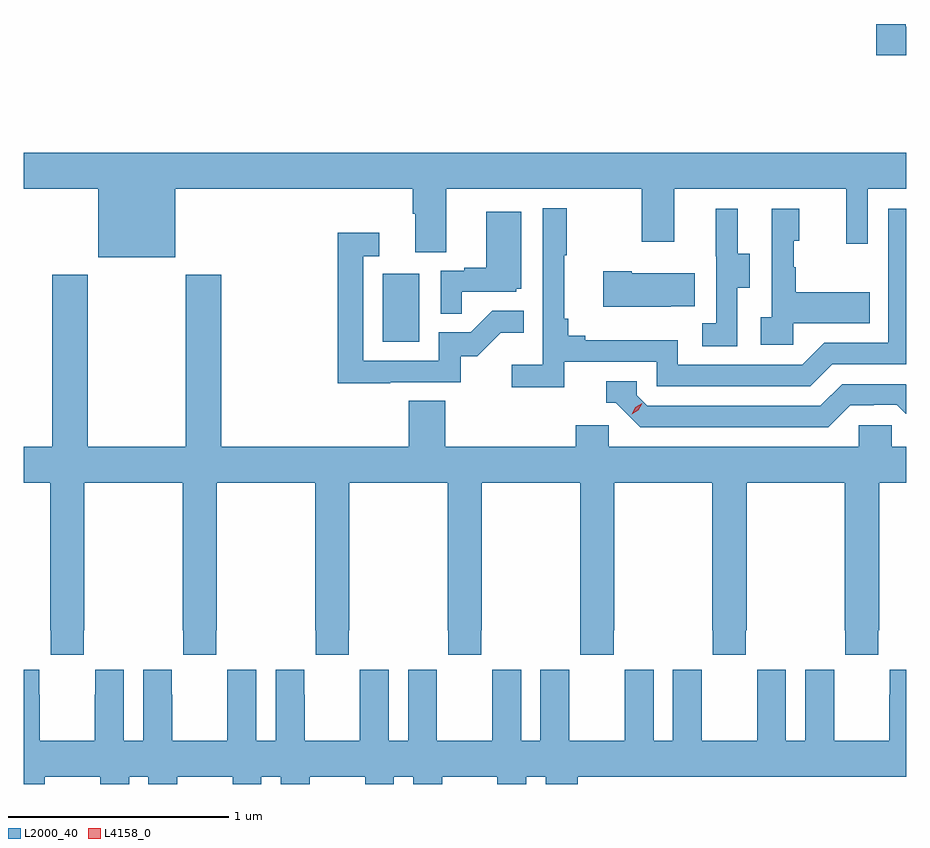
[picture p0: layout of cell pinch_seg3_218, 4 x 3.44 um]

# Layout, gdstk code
import gdstk
lib = gdstk.Library(unit=1e-6, precision=1e-09)
def R(c, l, rs):  # rectangles x0, y0, x1, y1
    for r in rs: c.add(gdstk.rectangle(r[:2], r[2:], *l))
def P(c, l, *ps):  # polygons
    for p in ps: c.add(gdstk.Polygon(p, *l))
L2000_40 = (2000, 40)
L4158_0 = (4158, 0)

pinch_seg3_218 = lib.new_cell('pinch_seg3_218')
R(pinch_seg3_218, L2000_40, [(938.102,744.18,938.266,744.487)])
P(pinch_seg3_218, L2000_40, [(940.474,745.606),(940.47,745.606),(940.47,745.619),(940.338,745.619),(940.338,745.477),(940.474,745.477)],
  [(937.162,744.872),(938.237,744.872),(938.237,744.76),(938.249,744.76),(938.249,744.586),(938.389,744.586),(938.389,744.872),(939.274,744.872),(939.274,744.633),(939.421,744.633),(939.421,744.872),(940.202,744.872),(940.202,744.624),(940.299,744.624),(940.299,744.872),(940.474,744.872),(940.474,745.036),(936.474,745.036),(936.474,744.872),(936.812,744.872),(936.812,744.563),(937.162,744.563)],
  [(938.924,744.09),(939.342,744.09),(939.342,743.979),(940.039,743.979),(940.138,744.078),(940.474,744.078),(940.474,744.783),(940.392,744.783),(940.392,744.174),(940.101,744.174),(940.002,744.075),(939.438,744.075),(939.438,744.187),(939.019,744.187),(939.019,744.206),(938.942,744.206),(938.942,744.283),(938.923,744.283),(938.923,744.571),(938.935,744.571),(938.935,744.784),(938.826,744.784),(938.826,744.076),(938.685,744.076),(938.685,743.974),(938.924,743.974)],
  [(939.708,744.424),(939.763,744.424),(939.763,744.579),(939.709,744.579),(939.709,744.781),(939.611,744.781),(939.611,744.567),(939.612,744.567),(939.612,744.263),(939.549,744.263),(939.549,744.16),(939.708,744.16)],
  [(939.96,744.263),(940.307,744.263),(940.307,744.403),(939.973,744.403),(939.973,744.518),(939.963,744.518),(939.963,744.636),(939.988,744.636),(939.988,744.781),(939.864,744.781),(939.864,744.29),(939.813,744.29),(939.813,744.165),(939.96,744.165)],
  [(938.459,744.405),(938.706,744.405),(938.706,744.42),(938.728,744.42),(938.728,744.769),(938.57,744.769),(938.57,744.514),(938.471,744.514),(938.471,744.501),(938.364,744.501),(938.364,744.307),(938.459,744.307)],
  [(938.135,743.997),(938.454,743.997),(938.454,744.114),(938.53,744.114),(938.637,744.221),(938.741,744.221),(938.741,744.32),(938.597,744.32),(938.499,744.222),(938.355,744.222),(938.355,744.093),(938.013,744.093),(938.013,744.567),(938.086,744.567),(938.086,744.673),(937.897,744.673),(937.897,743.992),(938.135,743.992)],
  [(939.407,744.341),(939.515,744.341),(939.515,744.49),(939.229,744.49),(939.229,744.498),(939.101,744.498),(939.101,744.338),(939.407,744.338)],
  [(940.257,743.704),(939.126,743.704),(939.126,743.802),(938.975,743.802),(938.975,743.704),(938.384,743.704),(938.384,743.912),(938.219,743.912),(938.219,743.704),(937.37,743.704),(937.37,744.484),(937.21,744.484),(937.21,743.704),(936.765,743.704),(936.765,744.484),(936.605,744.484),(936.605,743.704),(936.474,743.704),(936.474,743.54),(936.595,743.54),(936.595,742.873),(936.597,742.873),(936.597,742.761),(936.747,742.761),(936.747,742.873),(936.75,742.873),(936.75,743.54),(937.195,743.54),(937.195,742.873),(937.197,742.873),(937.197,742.761),(937.347,742.761),(937.347,742.873),(937.35,742.873),(937.35,743.54),(937.795,743.54),(937.795,742.873),(937.797,742.873),(937.797,742.761),(937.947,742.761),(937.947,742.873),(937.95,742.873),(937.95,743.54),(938.395,743.54),(938.395,742.873),(938.397,742.873),(938.397,742.761),(938.547,742.761),(938.547,742.873),(938.55,742.873),(938.55,743.54),(938.995,743.54),(938.995,742.873),(938.997,742.873),(938.997,742.761),(939.147,742.761),(939.147,742.873),(939.15,742.873),(939.15,743.54),(939.595,743.54),(939.595,742.873),(939.597,742.873),(939.597,742.761),(939.747,742.761),(939.747,742.873),(939.75,742.873),(939.75,743.54),(940.195,743.54),(940.195,742.873),(940.197,742.873),(940.197,742.761),(940.347,742.761),(940.347,742.873),(940.35,742.873),(940.35,743.54),(940.474,743.54),(940.474,743.704),(940.407,743.704),(940.407,743.802),(940.257,743.802)],
  [(940.219,743.892),(940.326,743.892),(940.326,743.895),(940.429,743.895),(940.471,743.853),(940.474,743.853),(940.474,743.985),(940.471,743.988),(940.182,743.988),(940.083,743.889),(939.3,743.889),(939.252,743.937),(939.252,744),(939.113,744),(939.113,743.904),(939.156,743.904),(939.267,743.793),(940.12,743.793)],
  [(938.216,742.693),(938.216,742.372),(938.128,742.372),(938.128,742.693),(937.998,742.693),(937.998,742.58),(937.997,742.58),(937.997,742.372),(937.747,742.372),(937.747,742.58),(937.746,742.58),(937.746,742.693),(937.616,742.693),(937.616,742.372),(937.528,742.372),(937.528,742.693),(937.398,742.693),(937.398,742.58),(937.397,742.58),(937.397,742.372),(937.147,742.372),(937.147,742.58),(937.146,742.58),(937.146,742.693),(937.016,742.693),(937.016,742.372),(936.928,742.372),(936.928,742.693),(936.798,742.693),(936.798,742.58),(936.797,742.58),(936.797,742.372),(936.547,742.372),(936.547,742.58),(936.546,742.58),(936.546,742.693),(936.474,742.693),(936.474,742.176),(936.571,742.176),(936.571,742.208),(936.821,742.208),(936.821,742.176),(936.952,742.176),(936.952,742.208),(937.04,742.208),(937.04,742.176),(937.171,742.176),(937.171,742.208),(937.421,742.208),(937.421,742.176),(937.552,742.176),(937.552,742.208),(937.64,742.208),(937.64,742.176),(937.771,742.176),(937.771,742.208),(938.021,742.208),(938.021,742.176),(938.152,742.176),(938.152,742.208),(938.24,742.208),(938.24,742.176),(938.371,742.176),(938.371,742.208),(938.621,742.208),(938.621,742.176),(938.752,742.176),(938.752,742.208),(938.84,742.208),(938.84,742.176),(938.984,742.176),(938.984,742.208),(940.474,742.208),(940.474,742.693),(940.398,742.693),(940.398,742.58),(940.397,742.58),(940.397,742.372),(940.147,742.372),(940.147,742.58),(940.146,742.58),(940.146,742.693),(940.016,742.693),(940.016,742.372),(939.928,742.372),(939.928,742.693),(939.798,742.693),(939.798,742.58),(939.797,742.58),(939.797,742.372),(939.547,742.372),(939.547,742.58),(939.546,742.58),(939.546,742.693),(939.416,742.693),(939.416,742.372),(939.328,742.372),(939.328,742.693),(939.198,742.693),(939.198,742.58),(939.197,742.58),(939.197,742.372),(938.947,742.372),(938.947,742.58),(938.946,742.58),(938.946,742.693),(938.816,742.693),(938.816,742.372),(938.728,742.372),(938.728,742.693),(938.598,742.693),(938.598,742.58),(938.597,742.58),(938.597,742.372),(938.347,742.372),(938.347,742.58),(938.346,742.58),(938.346,742.693)])
P(pinch_seg3_218, L4158_0, [(939.229,743.851),(939.229,743.851),(939.246,743.883),(939.277,743.902),(939.277,743.902),(939.277,743.902),(939.26,743.87),(939.229,743.851)])

lib.write_gds('pinch_seg3_218.gds')
